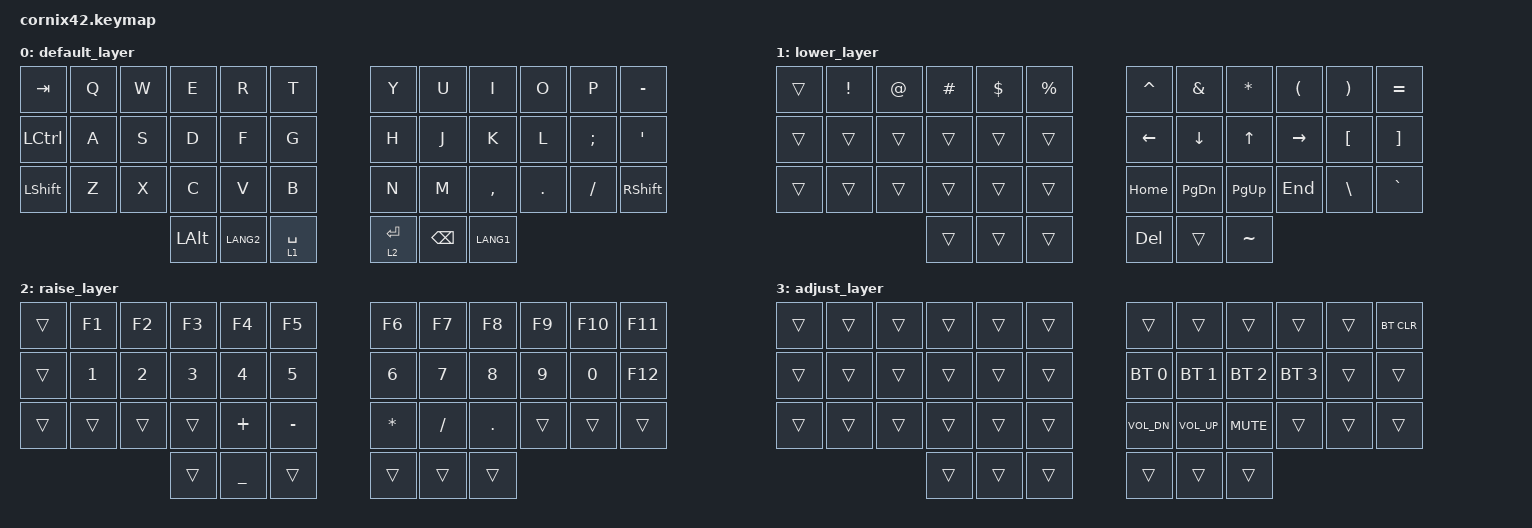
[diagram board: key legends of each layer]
/*
 * CornixLP カスタム keymap
 * 設計: 2026-04-23
 *
 * レイヤー構成:
 *   0: Base   — QWERTY + 日本語IME (LANG1/LANG2)
 *   1: Lower  — 記号 + ナビゲーション (左サム内側 hold)
 *   2: Raise  — 数字 + Fキー (右サム内側 hold)
 *   3: Adjust — Bluetooth / システム (Lower + Raise 同時 = tri-layer)
 *
 * サムクラスタ:
 *   左: [ALT] [LANG2/無変換] [SPC→L1]
 *   右: [ENT→L2] [BSPC] [LANG1/変換]
 *
 * BT プロファイル割り当て (Layer 3):
 *   BT0=メインPC(WSL)  BT1=サブPC  BT2=iPad  BT3=予備
 *
 * 配置先 (fork後): config/cornix42.keymap
 */

#include <behaviors.dtsi>
#include <dt-bindings/zmk/keys.h>
#include <dt-bindings/zmk/bt.h>

/ {
    /*
     * Tri-layer: Layer 1 + Layer 2 が同時に active → Layer 3 が自動発動
     */
    conditional_layers {
        compatible = "zmk,conditional-layers";
        tri_layer {
            if-layers = <1 2>;
            then-layer = <3>;
        };
    };

    keymap {
        compatible = "zmk,keymap";

        // ─────────────────────────────────────────────────────────────────
        // Layer 0: Base (QWERTY)
        // ─────────────────────────────────────────────────────────────────
        // ┌──────┬─────┬─────┬─────┬─────┬─────┐   ┌─────┬─────┬─────┬─────┬─────┬──────┐
        // │ TAB  │  Q  │  W  │  E  │  R  │  T  │   │  Y  │  U  │  I  │  O  │  P  │  -   │
        // ├──────┼─────┼─────┼─────┼─────┼─────┤   ├─────┼─────┼─────┼─────┼─────┼──────┤
        // │ CTRL │  A  │  S  │  D  │  F  │  G  │   │  H  │  J  │  K  │  L  │  ;  │  '   │
        // ├──────┼─────┼─────┼─────┼─────┼─────┤   ├─────┼─────┼─────┼─────┼─────┼──────┤
        // │ SHFT │  Z  │  X  │  C  │  V  │  B  │   │  N  │  M  │  ,  │  .  │  /  │ SHFT │
        // └──────┴─────┴─────┼─────┼─────┼─────┤   ├─────┼─────┼─────┼─────┴─────┴──────┘
        //                    │ ALT │LNG2 │SPC/1│   │ENT/2│BSPC │LNG1 │
        //                    └─────┴─────┴─────┘   └─────┴─────┴─────┘
        default_layer {
            bindings = <
   &kp TAB   &kp Q  &kp W  &kp E  &kp R  &kp T      &kp Y   &kp U     &kp I     &kp O   &kp P    &kp MINUS
   &kp LCTRL &kp A  &kp S  &kp D  &kp F  &kp G      &kp H   &kp J     &kp K     &kp L   &kp SEMI &kp SQT
   &kp LSHFT &kp Z  &kp X  &kp C  &kp V  &kp B      &kp N   &kp M     &kp COMMA &kp DOT &kp FSLH &kp RSHFT
                   &kp LALT &kp LANG2 &lt 1 SPACE    &lt 2 RET &kp BSPC &kp LANG1
            >;
        };

        // ─────────────────────────────────────────────────────────────────
        // Layer 1: Lower (記号 + ナビゲーション)
        // 左サム SPC を hold しながら、右手で操作
        // ─────────────────────────────────────────────────────────────────
        // ┌──────┬─────┬─────┬─────┬─────┬─────┐   ┌─────┬─────┬─────┬─────┬─────┬──────┐
        // │      │  !  │  @  │  #  │  $  │  %  │   │  ^  │  &  │  *  │  (  │  )  │  =   │
        // ├──────┼─────┼─────┼─────┼─────┼─────┤   ├─────┼─────┼─────┼─────┼─────┼──────┤
        // │      │     │     │     │     │     │   │  ←  │  ↓  │  ↑  │  →  │  [  │  ]   │
        // ├──────┼─────┼─────┼─────┼─────┼─────┤   ├─────┼─────┼─────┼─────┼─────┼──────┤
        // │      │     │     │     │     │     │   │Home │PgDn │PgUp │ End │  \  │  `   │
        // └──────┴─────┴─────┼─────┼─────┼─────┤   ├─────┼─────┼─────┼─────┴─────┴──────┘
        //                    │     │     │(hld)│   │ DEL │     │  ~  │
        //                    └─────┴─────┴─────┘   └─────┴─────┴─────┘
        lower_layer {
            bindings = <
   &trans &kp EXCL &kp AT &kp HASH &kp DLLR &kp PRCNT    &kp CARET &kp AMPS  &kp ASTRK &kp LPAR  &kp RPAR &kp EQUAL
   &trans &trans   &trans &trans   &trans   &trans        &kp LEFT  &kp DOWN  &kp UP    &kp RIGHT &kp LBKT &kp RBKT
   &trans &trans   &trans &trans   &trans   &trans        &kp HOME  &kp PG_DN &kp PG_UP &kp END   &kp BSLH &kp GRAVE
                          &trans   &trans   &trans        &kp DEL   &trans    &kp TILDE
            >;
        };

        // ─────────────────────────────────────────────────────────────────
        // Layer 2: Raise (数字 + Fキー)
        // 右サム ENT を hold しながら、左手で操作
        // ─────────────────────────────────────────────────────────────────
        // ┌──────┬─────┬─────┬─────┬─────┬─────┐   ┌─────┬─────┬─────┬─────┬─────┬──────┐
        // │      │ F1  │ F2  │ F3  │ F4  │ F5  │   │ F6  │ F7  │ F8  │ F9  │ F10 │ F11  │
        // ├──────┼─────┼─────┼─────┼─────┼─────┤   ├─────┼─────┼─────┼─────┼─────┼──────┤
        // │      │  1  │  2  │  3  │  4  │  5  │   │  6  │  7  │  8  │  9  │  0  │ F12  │
        // ├──────┼─────┼─────┼─────┼─────┼─────┤   ├─────┼─────┼─────┼─────┼─────┼──────┤
        // │      │     │     │     │  +  │  -  │   │  *  │  /  │  .  │     │     │      │
        // └──────┴─────┴─────┼─────┼─────┼─────┤   ├─────┼─────┼─────┼─────┴─────┴──────┘
        //                    │     │  _  │     │   │(hld)│     │     │
        //                    └─────┴─────┴─────┘   └─────┴─────┴─────┘
        raise_layer {
            bindings = <
   &trans &kp F1 &kp F2 &kp F3   &kp F4   &kp F5      &kp F6    &kp F7   &kp F8  &kp F9 &kp F10 &kp F11
   &trans &kp N1 &kp N2 &kp N3   &kp N4   &kp N5      &kp N6    &kp N7   &kp N8  &kp N9 &kp N0  &kp F12
   &trans &trans &trans &trans   &kp PLUS &kp MINUS   &kp ASTRK &kp FSLH &kp DOT &trans &trans  &trans
                        &trans   &kp UNDER &trans      &trans    &trans   &trans
            >;
        };

        // ─────────────────────────────────────────────────────────────────
        // Layer 3: Adjust (Bluetooth / システム)
        // Layer 1 + Layer 2 同時 hold で tri-layer 発動
        // ─────────────────────────────────────────────────────────────────
        // ┌──────┬─────┬─────┬─────┬─────┬─────┐   ┌─────┬─────┬─────┬─────┬─────┬──────┐
        // │      │     │     │     │     │     │   │     │     │     │     │     │BTCLR │
        // ├──────┼─────┼─────┼─────┼─────┼─────┤   ├─────┼─────┼─────┼─────┼─────┼──────┤
        // │      │     │     │     │     │     │   │ BT0 │ BT1 │ BT2 │ BT3 │     │      │
        // ├──────┼─────┼─────┼─────┼─────┼─────┤   ├─────┼─────┼─────┼─────┼─────┼──────┤
        // │      │     │     │     │     │     │   │VO-  │VO+  │MUTE │     │     │      │
        // └──────┴─────┴─────┼─────┼─────┼─────┤   ├─────┼─────┼─────┼─────┴─────┴──────┘
        //                    │     │(hld)│(hld)│   │(hld)│(hld)│     │
        //                    └─────┴─────┴─────┘   └─────┴─────┴─────┘
        adjust_layer {
            bindings = <
   &trans &trans &trans &trans &trans &trans    &trans       &trans       &trans       &trans       &trans &bt BT_CLR
   &trans &trans &trans &trans &trans &trans    &bt BT_SEL 0 &bt BT_SEL 1 &bt BT_SEL 2 &bt BT_SEL 3 &trans &trans
   &trans &trans &trans &trans &trans &trans    &kp C_VOL_DN &kp C_VOL_UP &kp C_MUTE  &trans       &trans &trans
                        &trans &trans &trans    &trans       &trans       &trans
            >;
        };
    };
};
